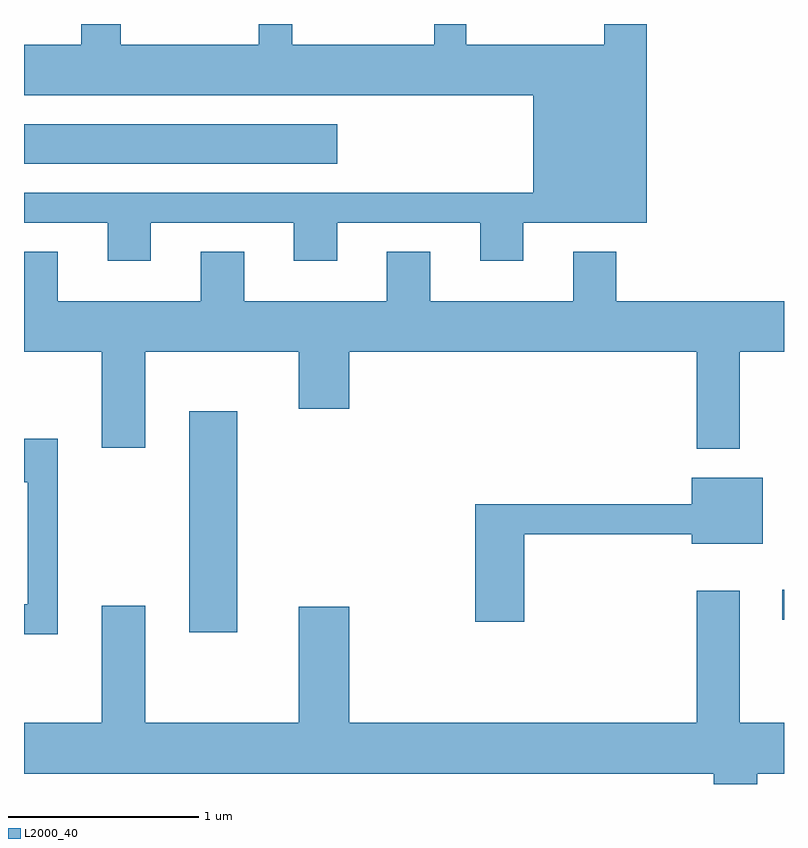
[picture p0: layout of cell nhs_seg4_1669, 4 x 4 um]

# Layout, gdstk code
import gdstk
lib = gdstk.Library(unit=1e-6, precision=1e-09)
def R(c, l, rs):  # rectangles x0, y0, x1, y1
    for r in rs: c.add(gdstk.rectangle(r[:2], r[2:], *l))
def P(c, l, *ps):  # polygons
    for p in ps: c.add(gdstk.Polygon(p, *l))
L2000_40 = (2000, 40)

nhs_seg4_1669 = lib.new_cell('nhs_seg4_1669')
R(nhs_seg4_1669, L2000_40, [(234.481,1328.781,234.734,1329.944), (237.603,1328.846,237.611,1329.004), (233.611,1331.246,235.259,1331.454)])
P(nhs_seg4_1669, L2000_40, [(234.279,1330.936),(235.031,1330.936),(235.031,1330.736),(235.259,1330.736),(235.259,1330.936),(236.011,1330.936),(236.011,1330.736),(236.239,1330.736),(236.239,1330.936),(236.889,1330.936),(236.889,1331.982),(236.666,1331.982),(236.666,1331.874),(235.939,1331.874),(235.939,1331.982),(235.771,1331.982),(235.771,1331.874),(235.024,1331.874),(235.024,1331.982),(234.846,1331.982),(234.846,1331.874),(234.119,1331.874),(234.119,1331.982),(233.911,1331.982),(233.911,1331.874),(233.611,1331.874),(233.611,1331.606),(236.291,1331.606),(236.291,1331.094),(233.611,1331.094),(233.611,1330.936),(234.051,1330.936),(234.051,1330.736),(234.279,1330.736)],
  [(237.379,1330.256),(237.611,1330.256),(237.611,1330.524),(236.729,1330.524),(236.729,1330.784),(236.501,1330.784),(236.501,1330.524),(235.749,1330.524),(235.749,1330.784),(235.521,1330.784),(235.521,1330.524),(234.769,1330.524),(234.769,1330.784),(234.541,1330.784),(234.541,1330.524),(233.789,1330.524),(233.789,1330.784),(233.611,1330.784),(233.611,1330.256),(234.021,1330.256),(234.021,1329.751),(234.249,1329.751),(234.249,1330.256),(235.056,1330.256),(235.056,1329.956),(235.324,1329.956),(235.324,1330.256),(237.151,1330.256),(237.151,1329.746),(237.379,1329.746)],
  [(233.789,1329.799),(233.611,1329.799),(233.611,1329.571),(233.631,1329.571),(233.631,1328.929),(233.611,1328.929),(233.611,1328.771),(233.789,1328.771)],
  [(236.244,1329.296),(237.126,1329.296),(237.126,1329.246),(237.499,1329.246),(237.499,1329.594),(237.126,1329.594),(237.126,1329.454),(235.986,1329.454),(235.986,1328.836),(236.244,1328.836)],
  [(237.469,1328.036),(237.611,1328.036),(237.611,1328.304),(237.379,1328.304),(237.379,1328.999),(237.151,1328.999),(237.151,1328.304),(235.324,1328.304),(235.324,1328.914),(235.056,1328.914),(235.056,1328.304),(234.249,1328.304),(234.249,1328.919),(234.021,1328.919),(234.021,1328.304),(233.611,1328.304),(233.611,1328.036),(237.241,1328.036),(237.241,1327.982),(237.469,1327.982)])

lib.write_gds('nhs_seg4_1669.gds')
